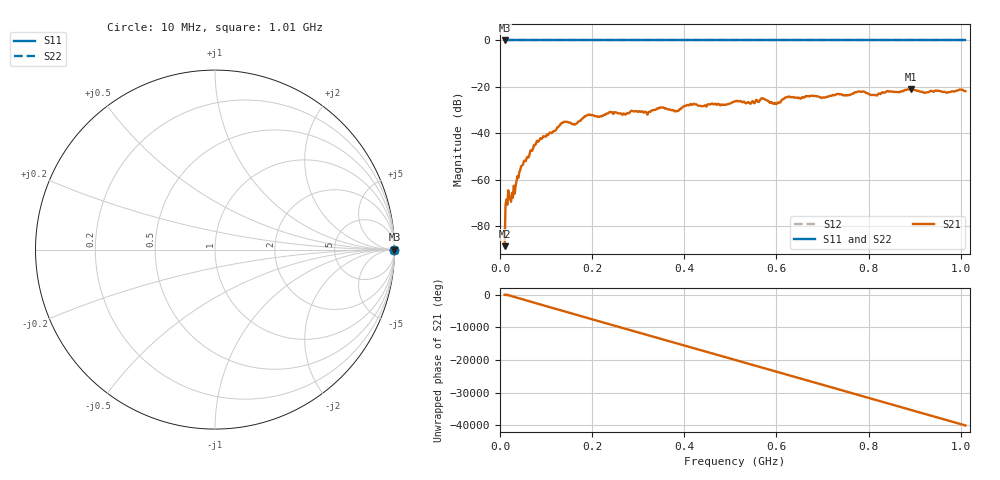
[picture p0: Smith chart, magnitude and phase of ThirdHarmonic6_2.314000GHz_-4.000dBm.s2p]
! 8/17/2025 3:13:55 AM
! C:\ANRITSUVNA\TEMP\TEMP.S2P
! CHANNEL.1
! TR.MEASUREMENT
! RAW.DATA
! RF.CORRECTION.OFF
! AVERAGING.OFF
! IF.BANDWIDTH: 5KHZ
! SWEEPTYPE:  FREQ.SWEEP(Linear)
! Reference Plane Port Info
! PORT:  PORT1  PORT2
! DISTANCE:  0  m  0  m
! TIME:  0  s  0  s
! PHASE.OFFSET:  0  deg.  0  deg.
! LOSS:  0  dB  0  dB
! REF.LOSS:  0  dB  0  dB
! REF.FREQ:  0  Hz  0  Hz
! Power Info
! POWER:  -20  dBm  -20  dBm
! EFF.POWER:  -20  dBm  -20  dBm
! SOURCE.ATTEN:  0  dB  0  dB
! TEST.ATTEN:  0  dB  0  dB
# GHZ S RI R 50.0
! FREQ.GHZ  S11RE  S11IM  S21RE  S21IM  S12RE  S12IM  S22RE  S22IM
!; PortSelection: Port_12
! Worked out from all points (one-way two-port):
!   501 points, 10 MHz to 1.01 GHz, reference 50 ohm
!   highest |S21| = -20.99 dB at 892 MHz (marker M1); lowest = -88.7 dB at 10 MHz (marker M2)
!   lowest |S11| = 0.0 dB at 10 MHz (marker M3)
!   |S11| at or under -10 dB: nowhere
!   |S22| runs from 0.0 to 0.0 dB; largest |S21 - S12| = 1.1
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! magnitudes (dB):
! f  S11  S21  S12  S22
! 10 MHz  0.0  -88.7  0.0  0.0
! 16 MHz  0.0  -70.8  0.0  0.0
! 28 MHz  0.0  -67.8  0.0  0.0
! 48 MHz  0.0  -53.9  0.0  0.0
! 78 MHz  0.0  -44.6  0.0  0.0
! 136 MHz  0.0  -35.6  0.0  0.0
! 162 MHz  0.0  -36.3  0.0  0.0
! 178 MHz  0.0  -33.8  0.0  0.0
! 192 MHz  0.0  -32.0  0.0  0.0
! 322 MHz  0.0  -31.0  0.0  0.0
! 344 MHz  0.0  -29.4  0.0  0.0
! 384 MHz  0.0  -30.4  0.0  0.0
! 410 MHz  0.0  -28.0  0.0  0.0
! 510 MHz  0.0  -26.3  0.0  0.0
! 570 MHz  0.0  -24.9  0.0  0.0
! 596 MHz  0.0  -26.9  0.0  0.0
! 624 MHz  0.0  -24.5  0.0  0.0
! 678 MHz  0.0  -23.9  0.0  0.0
! 814 MHz  0.0  -23.5  0.0  0.0
! 844 MHz  0.0  -22.0  0.0  0.0
! 892 MHz  0.0  -21.0  0.0  0.0
! 1.01 GHz  0.0  -21.9  0.0  0.0
